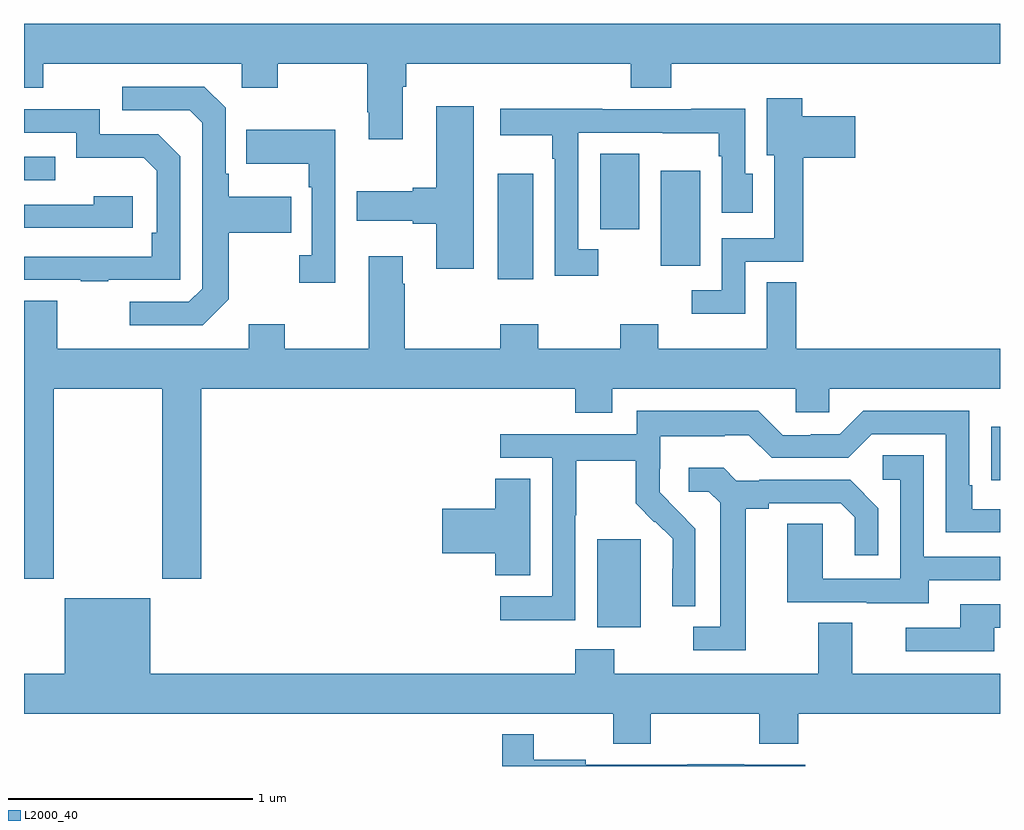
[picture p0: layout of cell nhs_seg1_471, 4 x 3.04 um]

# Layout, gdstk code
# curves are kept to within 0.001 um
import gdstk
lib = gdstk.Library(unit=1e-6, precision=1e-09)
def R(c, l, rs):  # rectangles x0, y0, x1, y1
    for r in rs: c.add(gdstk.rectangle(r[:2], r[2:], *l))
def P(c, l, *ps):  # polygons
    for p in ps: c.add(gdstk.Polygon(p, *l))
L2000_40 = (2000, 40)

nhs_seg1_471 = lib.new_cell('nhs_seg1_471')
R(nhs_seg1_471, L2000_40, [(139.349,534.77,139.528,535.131), (140.965,535.372,141,535.591), (138.941,536.195,139.087,536.629), (139.61,536.252,139.771,536.641), (139.361,536.4,139.522,536.711), (137,536.601,137.129,536.697)])
P(nhs_seg1_471, L2000_40, [(138.553,536.984),(138.566,536.984),(138.566,537.08),(139.487,537.08),(139.487,536.981),(139.652,536.981),(139.652,537.08),(141,537.08),(141,537.244),(137,537.244),(137,536.981),(137.079,536.981),(137.079,537.08),(137.892,537.08),(137.892,536.981),(138.039,536.981),(138.039,537.08),(138.406,537.08),(138.406,536.881),(138.413,536.881),(138.413,536.769),(138.553,536.769)],
  [(137.839,536.113),(137.839,536.386),(138.095,536.386),(138.095,536.533),(137.839,536.533),(137.839,536.629),(137.826,536.629),(137.826,536.898),(137.739,536.985),(137.403,536.985),(137.403,536.889),(137.679,536.889),(137.73,536.838),(137.73,536.157),(137.676,536.103),(137.433,536.103),(137.433,536.007),(137.733,536.007)],
  [(139.956,536.268),(140.194,536.268),(140.194,536.693),(140.407,536.693),(140.407,536.863),(140.189,536.863),(140.189,536.938),(140.045,536.938),(140.045,536.705),(140.075,536.705),(140.075,536.364),(139.86,536.364),(139.86,536.151),(139.737,536.151),(139.737,536.054),(139.956,536.054)],
  [(138.844,536.905),(138.689,536.905),(138.689,536.57),(138.593,536.57),(138.593,536.557),(138.363,536.557),(138.363,536.435),(138.593,536.435),(138.593,536.423),(138.689,536.423),(138.689,536.238),(138.844,536.238)],
  [(139.354,536.319),(139.272,536.319),(139.272,536.796),(139.618,536.796),(139.618,536.795),(139.848,536.795),(139.848,536.699),(139.86,536.699),(139.86,536.469),(139.987,536.469),(139.987,536.628),(139.956,536.628),(139.956,536.894),(139.735,536.894),(139.735,536.892),(139.369,536.892),(139.369,536.894),(138.951,536.894),(138.951,536.786),(139.164,536.786),(139.164,536.69),(139.176,536.69),(139.176,536.211),(139.354,536.211)],
  [(137.345,536.193),(137.64,536.193),(137.64,536.7),(137.55,536.79),(137.31,536.79),(137.31,536.892),(137,536.892),(137,536.796),(137.214,536.796),(137.214,536.693),(137.491,536.693),(137.544,536.64),(137.544,536.386),(137.524,536.386),(137.524,536.289),(137,536.289),(137,536.193),(137.233,536.193),(137.233,536.188),(137.345,536.188)],
  [(138.276,536.809),(137.911,536.809),(137.911,536.669),(138.168,536.669),(138.168,536.573),(138.18,536.573),(138.18,536.294),(138.129,536.294),(138.129,536.181),(138.276,536.181)],
  [(137.446,536.536),(137.285,536.536),(137.285,536.502),(137,536.502),(137,536.406),(137.446,536.406)],
  [(139.259,535.649),(139.411,535.649),(139.411,535.748),(140.163,535.748),(140.163,535.65),(140.301,535.65),(140.301,535.748),(141,535.748),(141,535.912),(140.164,535.912),(140.164,536.183),(140.045,536.183),(140.045,535.912),(139.599,535.912),(139.599,536.011),(139.444,536.011),(139.444,535.912),(139.107,535.912),(139.107,536.011),(138.952,536.011),(138.952,535.912),(138.561,535.912),(138.561,536.177),(138.553,536.177),(138.553,536.29),(138.413,536.29),(138.413,535.912),(138.069,535.912),(138.069,536.011),(137.921,536.011),(137.921,535.912),(137.137,535.912),(137.137,536.107),(137,536.107),(137,534.969),(137.121,534.969),(137.121,535.748),(137.566,535.748),(137.566,534.969),(137.726,534.969),(137.726,535.748),(139.259,535.748)],
  [(139.26,535.228),(139.263,535.228),(139.263,535.452),(139.507,535.452),(139.507,535.277),(139.584,535.2),(139.587,535.203),(139.658,535.133),(139.658,535.01),(139.656,535.01),(139.656,534.856),(139.752,534.856),(139.752,535.174),(139.606,535.322),(139.606,535.419),(139.608,535.419),(139.608,535.553),(139.871,535.553),(139.871,535.557),(139.971,535.557),(140.064,535.464),(140.379,535.464),(140.475,535.56),(140.778,535.56),(140.778,535.158),(141,535.158),(141,535.254),(140.887,535.254),(140.887,535.351),(140.874,535.351),(140.874,535.656),(140.439,535.656),(140.343,535.56),(140.225,535.56),(140.225,535.557),(140.109,535.557),(140.009,535.657),(139.512,535.657),(139.512,535.56),(138.951,535.56),(138.951,535.464),(139.164,535.464),(139.164,534.897),(138.951,534.897),(138.951,534.799),(139.26,534.799)],
  [(140.707,534.963),(141,534.963),(141,535.059),(140.688,535.059),(140.688,535.475),(140.52,535.475),(140.52,535.374),(140.592,535.374),(140.592,534.969),(140.274,534.969),(140.274,535.193),(140.129,535.193),(140.129,534.873),(140.453,534.873),(140.453,534.869),(140.707,534.869)],
  [(139.957,535.256),(140.053,535.256),(140.053,535.278),(140.348,535.278),(140.405,535.221),(140.405,535.065),(140.502,535.065),(140.502,535.258),(140.386,535.374),(140.014,535.374),(140.014,535.371),(139.92,535.371),(139.868,535.423),(139.725,535.423),(139.725,535.326),(139.806,535.326),(139.853,535.279),(139.853,534.771),(139.743,534.771),(139.743,534.675),(139.957,534.675)],
  [(139.075,535.379),(138.932,535.379),(138.932,535.256),(138.714,535.256),(138.714,535.073),(138.932,535.073),(138.932,534.982),(139.075,534.982)],
  [(139.569,534.416),(140.014,534.416),(140.014,534.292),(140.174,534.292),(140.174,534.416),(141,534.416),(141,534.58),(140.395,534.58),(140.395,534.788),(140.255,534.788),(140.255,534.58),(139.419,534.58),(139.419,534.679),(139.259,534.679),(139.259,534.58),(137.518,534.58),(137.518,534.889),(137.168,534.889),(137.168,534.58),(137,534.58),(137,534.416),(139.414,534.416),(139.414,534.292),(139.569,534.292)],
  [(140.977,534.768),(141,534.768),(141,534.864),(140.837,534.864),(140.837,534.768),(140.613,534.768),(140.613,534.672),(140.977,534.672)],
  [(140.201,534.207),(139.951,534.207),(139.951,534.209),(139.719,534.209),(139.719,534.207),(139.302,534.207),(139.302,534.226),(139.09,534.226),(139.09,534.331),(138.961,534.331),(138.961,534.199),(140.201,534.199)])

lib.write_gds('nhs_seg1_471.gds')
